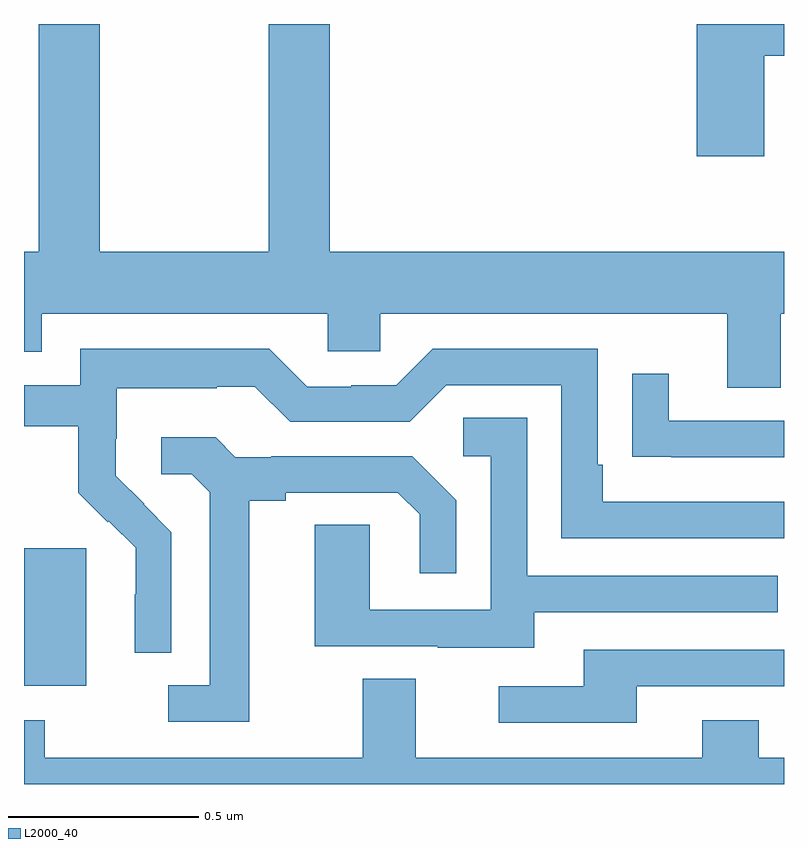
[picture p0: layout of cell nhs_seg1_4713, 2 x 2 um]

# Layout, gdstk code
import gdstk
lib = gdstk.Library(unit=1e-6, precision=1e-09)
def R(c, l, rs):  # rectangles x0, y0, x1, y1
    for r in rs: c.add(gdstk.rectangle(r[:2], r[2:], *l))
def P(c, l, *ps):  # polygons
    for p in ps: c.add(gdstk.Polygon(p, *l))
L2000_40 = (2000, 40)

nhs_seg1_4713 = lib.new_cell('nhs_seg1_4713')
R(nhs_seg1_4713, L2000_40, [(170,513.458,170.164,513.819)])
P(nhs_seg1_4713, L2000_40, [(171.991,514.436),(172,514.436),(172,514.6),(170.804,514.6),(170.804,515.199),(170.644,515.199),(170.644,514.6),(170.199,514.6),(170.199,515.199),(170.039,515.199),(170.039,514.6),(170,514.6),(170,514.337),(170.047,514.337),(170.047,514.436),(170.799,514.436),(170.799,514.338),(170.937,514.338),(170.937,514.436),(171.851,514.436),(171.851,514.242),(171.991,514.242)],
  [(171.948,515.116),(172,515.116),(172,515.199),(171.77,515.199),(171.77,514.851),(171.948,514.851)],
  [(170.388,513.862),(170.315,513.935),(170.316,513.936),(170.242,514.01),(170.242,514.107),(170.244,514.107),(170.244,514.241),(170.507,514.241),(170.507,514.245),(170.607,514.245),(170.7,514.152),(171.015,514.152),(171.111,514.248),(171.414,514.248),(171.414,513.846),(172,513.846),(172,513.942),(171.523,513.942),(171.523,514.039),(171.51,514.039),(171.51,514.344),(171.075,514.344),(170.979,514.248),(170.861,514.248),(170.861,514.245),(170.745,514.245),(170.645,514.345),(170.148,514.345),(170.148,514.248),(170,514.248),(170,514.14),(170.143,514.14),(170.143,513.965),(170.22,513.888),(170.223,513.891),(170.294,513.821),(170.294,513.698),(170.292,513.698),(170.292,513.544),(170.388,513.544)],
  [(172,514.155),(171.697,514.155),(171.697,514.279),(171.601,514.279),(171.601,514.06),(171.703,514.06),(171.703,514.059),(172,514.059)],
  [(171.343,513.651),(171.983,513.651),(171.983,513.747),(171.324,513.747),(171.324,514.163),(171.156,514.163),(171.156,514.062),(171.228,514.062),(171.228,513.657),(170.91,513.657),(170.91,513.881),(170.765,513.881),(170.765,513.561),(171.089,513.561),(171.089,513.557),(171.343,513.557)],
  [(170.593,513.944),(170.689,513.944),(170.689,513.966),(170.984,513.966),(171.041,513.909),(171.041,513.753),(171.138,513.753),(171.138,513.946),(171.022,514.062),(170.65,514.062),(170.65,514.059),(170.556,514.059),(170.504,514.111),(170.361,514.111),(170.361,514.014),(170.442,514.014),(170.489,513.967),(170.489,513.459),(170.379,513.459),(170.379,513.363),(170.593,513.363)],
  [(171.613,513.456),(172,513.456),(172,513.552),(171.473,513.552),(171.473,513.456),(171.249,513.456),(171.249,513.36),(171.613,513.36)],
  [(172,513.268),(171.933,513.268),(171.933,513.367),(171.785,513.367),(171.785,513.268),(171.031,513.268),(171.031,513.476),(170.891,513.476),(170.891,513.268),(170.055,513.268),(170.055,513.367),(170,513.367),(170,513.199),(172,513.199)])

lib.write_gds('nhs_seg1_4713.gds')
